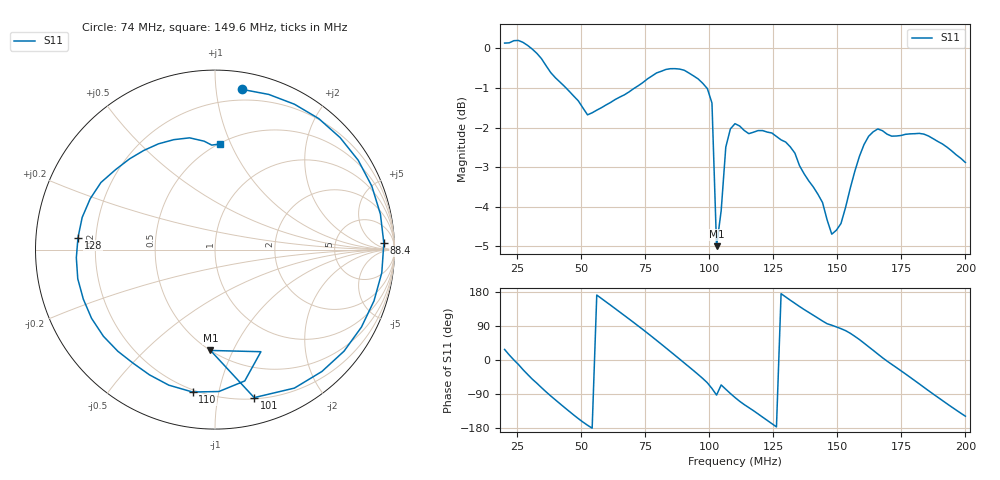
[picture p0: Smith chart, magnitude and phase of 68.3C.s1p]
# HZ S RI R 50
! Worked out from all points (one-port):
!   101 points, 20 MHz to 200 MHz, reference 50 ohm
!   lowest |S11| = -5.0 dB at 102.8 MHz (marker M1), VSWR 3.57, Z = 25 - j41.1 ohm
!   |S11| at or under -10 dB: nowhere
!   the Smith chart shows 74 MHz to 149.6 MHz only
!   S11 on the Smith chart (normalised r, x): 74 MHz: 0.12, +1.17; 88.4 MHz: 24, +15; 101 MHz: 0.21, -1.28; 110 MHz: 0.19, -0.84; 128 MHz: 0.13, +0.04; 149.6 MHz: 0.51, +0.91
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2e7  0.8984 0.4732
2.54e7  1.002 -0.2085
3.26e7  0.474 -0.8641
3.8e7  -0.0773 -0.9289
4.34e7  -0.5175 -0.7305
4.88e7  -0.7759 -0.3669
5.42e7  -0.8291 -0.000198
6.5e7  -0.5156 0.6981
7.4e7  0.1498 0.8928
8.12e7  0.6968 0.6242
8.84e7  0.9408 0.0358
9.56e7  0.7192 -0.5655
1.01e8  0.2182 -0.8247
1.028e8  -0.0251 -0.5619
1.046e8  0.2558 -0.5689
1.1e8  -0.1253 -0.7934
1.208e8  -0.6878 -0.383
1.28e8  -0.7633 0.0671
1.334e8  -0.6354 0.3739
1.406e8  -0.3147 0.5894
1.496e8  0.0272 0.5886
1.55e8  0.2207 0.6276
1.604e8  0.5388 0.5301
1.658e8  0.7615 0.214
1.73e8  0.7296 -0.2613
1.784e8  0.5464 -0.5563
1.892e8  -0.1094 -0.7549
2e8  -0.6105 -0.3769
